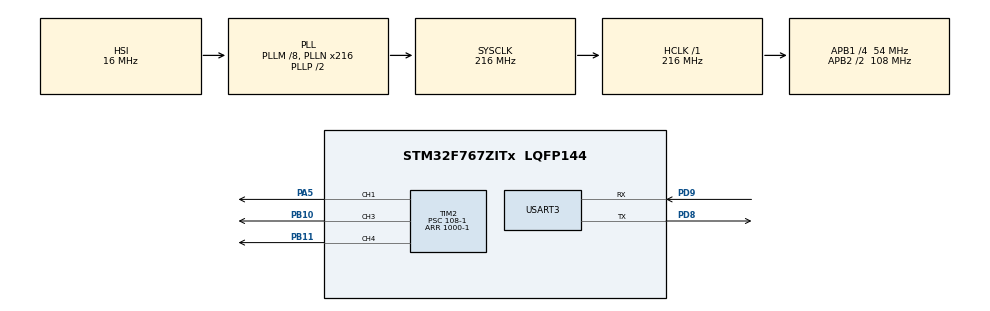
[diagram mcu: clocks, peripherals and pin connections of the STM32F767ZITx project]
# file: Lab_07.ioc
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CORTEX_M7.default_mode_Activation=1
Mcu.Family=STM32F7
Mcu.Name=STM32F767ZITx
Mcu.Package=LQFP144
NVIC.PriorityGroup=NVIC_PRIORITYGROUP_4
NVIC.USART3_IRQn=true\:0\:0\:false\:false\:true\:true\:true\:true
PA5.Signal=S_TIM2_CH1_ETR
PB10.GPIO_Speed=GPIO_SPEED_FREQ_VERY_HIGH
PB10.Signal=S_TIM2_CH3
PB11.Signal=S_TIM2_CH4
PD8.Mode=Asynchronous
PD8.Signal=USART3_TX
PD9.Mode=Asynchronous
PD9.Signal=USART3_RX
ProjectManager.HeapSize=0x200
ProjectManager.StackSize=0x400
ProjectManager.TargetToolchain=STM32CubeIDE
RCC.AHBFreq_Value=216000000
RCC.APB1CLKDivider=RCC_HCLK_DIV4
RCC.APB1Freq_Value=54000000
RCC.APB1TimFreq_Value=108000000
RCC.APB2CLKDivider=RCC_HCLK_DIV2
RCC.APB2Freq_Value=108000000
RCC.APB2TimFreq_Value=216000000
RCC.CortexFreq_Value=216000000
RCC.HCLKFreq_Value=216000000
RCC.HSE_VALUE=25000000
RCC.HSI_VALUE=16000000
RCC.LSE_VALUE=32768
RCC.PLLM=8
RCC.PLLN=216
RCC.SYSCLKFreq_VALUE=216000000
RCC.SYSCLKSource=RCC_SYSCLKSOURCE_PLLCLK
RCC.USBFreq_Value=216000000
RCC.VCOOutputFreq_Value=432000000
SH.S_TIM2_CH1_ETR.0=TIM2_CH1,PWM Generation1 CH1
SH.S_TIM2_CH3.0=TIM2_CH3,PWM Generation3 CH3
SH.S_TIM2_CH4.0=TIM2_CH4,PWM Generation4 CH4
TIM2.Channel-PWM\ Generation1\ CH1=TIM_CHANNEL_1
TIM2.Channel-PWM\ Generation3\ CH3=TIM_CHANNEL_3
TIM2.Channel-PWM\ Generation4\ CH4=TIM_CHANNEL_4
TIM2.Period=1000-1
TIM2.Prescaler=108-1
TIM2.Pulse-PWM\ Generation3\ CH3=10000/4-1
USART3.VirtualMode-Asynchronous=VM_ASYNC
VP_TIM2_VS_ClockSourceINT.Mode=Internal
board=custom

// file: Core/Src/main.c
/* USER CODE BEGIN Header */
/**
  ******************************************************************************
  * @file           : main.c
  * @brief          : Main program body
  ******************************************************************************
  * @attention
  *
  * Copyright (c) 2024 STMicroelectronics.
  * All rights reserved.
  *
  * This software is licensed under terms that can be found in the LICENSE file
  * in the root directory of this software component.
  * If no LICENSE file comes with this software, it is provided AS-IS.
  *
  ******************************************************************************
  */
/* USER CODE END Header */
#include "main.h"
#include "tim.h"
#include "usart.h"
#include "gpio.h"

/* USER CODE BEGIN Includes */
#include "string.h"
/* USER CODE END Includes */

/* USER CODE BEGIN PV */
uint8_t pwm;
uint8_t pwm_r;
uint8_t pwm_g;
uint8_t pwm_b;
float rCycle = 0;
 float gCycle = 0;
 float bCycle = 0;
/* USER CODE END PV */

void SystemClock_Config(void);
static void MPU_Config(void);

int main(void)
{

  /* MPU Configuration--------------------------------------------------------*/
  MPU_Config();

  /* MCU Configuration--------------------------------------------------------*/

  /* Reset of all peripherals, Initializes the Flash interface and the Systick. */
  HAL_Init();

  /* Configure the system clock */
  SystemClock_Config();

  /* Initialize all configured peripherals */
  MX_GPIO_Init();
  MX_TIM2_Init();
  MX_USART3_UART_Init();
  /* USER CODE BEGIN 2 */
  float dutyCycle = 2.0;

  /* USER CODE END 2 */

  /* Infinite loop */
  while (1)
  {

    /* USER CODE BEGIN 3 */
//	htim2.Instance -> CCR3 = (10000 - 1) * dutyCycle;
//	HAL_TIM_PWM_Start(&htim2, TIM_CHANNEL_3);
//	HAL_Delay(100);
//	HAL_TIM_PWM_Stop(&htim2, TIM_CHANNEL_3);
//	pwm = (GPIOB -> IDR & GPIO_PIN_10) >> 10;

	  char receivedChar;

	  while (__HAL_UART_GET_FLAG(&huart3, UART_FLAG_RXNE) == RESET){

	  }

	  HAL_UART_Receive(&huart3, (uint8_t*) &receivedChar, 1, 1000);

	  while (__HAL_UART_GET_FLAG(&huart3,UART_FLAG_TC) == RESET){}
	  HAL_UART_Transmit(&huart3, (uint8_t*) &receivedChar, 1,1000);

	  if (receivedChar == 'r') {
		  rCycle += 0.2;

		  if (rCycle > 1.0) {
			  rCycle = 0;
		  }

		  HAL_TIM_PWM_Stop(&htim2, TIM_CHANNEL_1);
		  htim2.Instance -> CCR1 = (1000 - 1) * rCycle;
		  HAL_TIM_PWM_Start(&htim2, TIM_CHANNEL_1);
	  }

	  if (receivedChar == 'g') {
		  gCycle += 0.2;

		  if (gCycle > 1.0) {
			  gCycle = 0;
		  }

		  HAL_TIM_PWM_Stop(&htim2, TIM_CHANNEL_3);
		  htim2.Instance -> CCR3 = (1000 - 1) * gCycle;
		  HAL_TIM_PWM_Start(&htim2, TIM_CHANNEL_3);
	  }

	  if (receivedChar == 'b') {
		  bCycle += 0.2;

		  if (bCycle > 1.0) {
			  bCycle = 0;
		  }

		  HAL_TIM_PWM_Stop(&htim2, TIM_CHANNEL_4);
		  htim2.Instance -> CCR4 = (1000 - 1) * bCycle;
		  HAL_TIM_PWM_Start(&htim2, TIM_CHANNEL_4);
	  }

	  pwm_r = (GPIOA -> IDR & GPIO_PIN_5) >> 5;
	  pwm_g = ((GPIOB -> IDR & GPIO_PIN_10) >> 10) + 3;
	  pwm_b = ((GPIOB -> IDR & GPIO_PIN_11) >> 11) + 5;

	  HAL_Delay(100);

  }
  /* USER CODE END 3 */
}

void SystemClock_Config(void)
{
  RCC_OscInitTypeDef RCC_OscInitStruct = {0};
  RCC_ClkInitTypeDef RCC_ClkInitStruct = {0};

  /** Configure the main internal regulator output voltage
  */
  __HAL_RCC_PWR_CLK_ENABLE();
  __HAL_PWR_VOLTAGESCALING_CONFIG(PWR_REGULATOR_VOLTAGE_SCALE1);

  /** Initializes the RCC Oscillators according to the specified parameters
  * in the RCC_OscInitTypeDef structure.
  */
  RCC_OscInitStruct.OscillatorType = RCC_OSCILLATORTYPE_HSI;
  RCC_OscInitStruct.HSIState = RCC_HSI_ON;
  RCC_OscInitStruct.HSICalibrationValue = RCC_HSICALIBRATION_DEFAULT;
  RCC_OscInitStruct.PLL.PLLState = RCC_PLL_ON;
  RCC_OscInitStruct.PLL.PLLSource = RCC_PLLSOURCE_HSI;
  RCC_OscInitStruct.PLL.PLLM = 8;
  RCC_OscInitStruct.PLL.PLLN = 216;
  RCC_OscInitStruct.PLL.PLLP = RCC_PLLP_DIV2;
  RCC_OscInitStruct.PLL.PLLQ = 2;
  RCC_OscInitStruct.PLL.PLLR = 2;
  if (HAL_RCC_OscConfig(&RCC_OscInitStruct) != HAL_OK)
  {
    Error_Handler();
  }

  /** Activate the Over-Drive mode
  */
  if (HAL_PWREx_EnableOverDrive() != HAL_OK)
  {
    Error_Handler();
  }

  /** Initializes the CPU, AHB and APB buses clocks
  */
  RCC_ClkInitStruct.ClockType = RCC_CLOCKTYPE_HCLK|RCC_CLOCKTYPE_SYSCLK
                              |RCC_CLOCKTYPE_PCLK1|RCC_CLOCKTYPE_PCLK2;
  RCC_ClkInitStruct.SYSCLKSource = RCC_SYSCLKSOURCE_PLLCLK;
  RCC_ClkInitStruct.AHBCLKDivider = RCC_SYSCLK_DIV1;
  RCC_ClkInitStruct.APB1CLKDivider = RCC_HCLK_DIV4;
  RCC_ClkInitStruct.APB2CLKDivider = RCC_HCLK_DIV2;

  if (HAL_RCC_ClockConfig(&RCC_ClkInitStruct, FLASH_LATENCY_7) != HAL_OK)
  {
    Error_Handler();
  }
}

 /* MPU Configuration */

void MPU_Config(void)
{
  MPU_Region_InitTypeDef MPU_InitStruct = {0};

  /* Disables the MPU */
  HAL_MPU_Disable();

  /** Initializes and configures the Region and the memory to be protected
  */
  MPU_InitStruct.Enable = MPU_REGION_ENABLE;
  MPU_InitStruct.Number = MPU_REGION_NUMBER0;
  MPU_InitStruct.BaseAddress = 0x0;
  MPU_InitStruct.Size = MPU_REGION_SIZE_4GB;
  MPU_InitStruct.SubRegionDisable = 0x87;
  MPU_InitStruct.TypeExtField = MPU_TEX_LEVEL0;
  MPU_InitStruct.AccessPermission = MPU_REGION_NO_ACCESS;
  MPU_InitStruct.DisableExec = MPU_INSTRUCTION_ACCESS_DISABLE;
  MPU_InitStruct.IsShareable = MPU_ACCESS_SHAREABLE;
  MPU_InitStruct.IsCacheable = MPU_ACCESS_NOT_CACHEABLE;
  MPU_InitStruct.IsBufferable = MPU_ACCESS_NOT_BUFFERABLE;

  HAL_MPU_ConfigRegion(&MPU_InitStruct);
  /* Enables the MPU */
  HAL_MPU_Enable(MPU_PRIVILEGED_DEFAULT);

}

void Error_Handler(void)
{
  __disable_irq();
  while (1)
  {
  }
}
